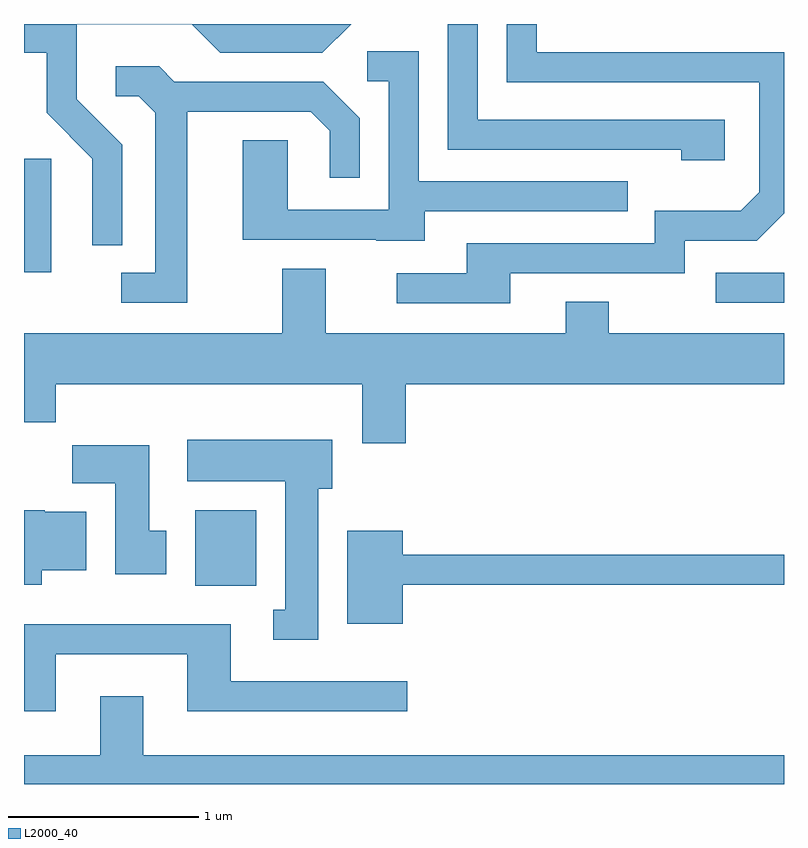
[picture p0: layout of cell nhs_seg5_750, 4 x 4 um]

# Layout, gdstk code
import gdstk
lib = gdstk.Library(unit=1e-6, precision=1e-09)
def R(c, l, rs):  # rectangles x0, y0, x1, y1
    for r in rs: c.add(gdstk.rectangle(r[:2], r[2:], *l))
def P(c, l, *ps):  # polygons
    for p in ps: c.add(gdstk.Polygon(p, *l))
L2000_40 = (2000, 40)

nhs_seg5_750 = lib.new_cell('nhs_seg5_750')
R(nhs_seg5_750, L2000_40, [(208.511,1409.116,208.834,1409.514), (211.253,1410.606,211.611,1410.764), (207.611,1410.766,207.754,1411.364)])
P(nhs_seg5_750, L2000_40, [(210.169,1410.761),(211.089,1410.761),(211.089,1410.931),(211.467,1410.931),(211.611,1411.076),(211.611,1411.924),(210.309,1411.924),(210.309,1412.072),(210.151,1412.072),(210.151,1411.766),(211.481,1411.766),(211.481,1411.187),(211.384,1411.089),(210.931,1411.089),(210.931,1410.919),(209.941,1410.919),(209.941,1410.759),(209.573,1410.759),(209.573,1410.601),(210.169,1410.601)],
  [(211.299,1411.569),(209.999,1411.569),(209.999,1412.072),(209.841,1412.072),(209.841,1411.411),(211.071,1411.411),(211.071,1411.356),(211.299,1411.356)],
  [(208.129,1411.437),(207.889,1411.677),(207.889,1412.071),(208.494,1412.071),(208.644,1411.921),(209.182,1411.921),(209.333,1412.072),(207.611,1412.072),(207.611,1411.921),(207.731,1411.921),(207.731,1411.604),(207.971,1411.364),(207.971,1410.908),(208.129,1410.908)],
  [(209.719,1411.086),(210.788,1411.086),(210.788,1411.244),(209.689,1411.244),(209.689,1411.929),(209.418,1411.929),(209.418,1411.771),(209.531,1411.771),(209.531,1411.094),(208.999,1411.094),(208.999,1411.459),(208.761,1411.459),(208.761,1410.936),(209.465,1410.936),(209.465,1410.931),(209.719,1410.931)],
  [(208.469,1411.611),(209.119,1411.611),(209.221,1411.509),(209.221,1411.263),(209.379,1411.263),(209.379,1411.577),(209.187,1411.769),(208.402,1411.769),(208.322,1411.849),(208.093,1411.849),(208.093,1411.691),(208.214,1411.691),(208.301,1411.604),(208.301,1410.764),(208.123,1410.764),(208.123,1410.606),(208.469,1410.606)],
  [(209.619,1410.176),(211.611,1410.176),(211.611,1410.444),(210.689,1410.444),(210.689,1410.609),(210.461,1410.609),(210.461,1410.444),(209.199,1410.444),(209.199,1410.784),(208.971,1410.784),(208.971,1410.444),(207.611,1410.444),(207.611,1409.976),(207.779,1409.976),(207.779,1410.176),(209.391,1410.176),(209.391,1409.866),(209.619,1409.866)],
  [(209.159,1409.626),(209.234,1409.626),(209.234,1409.884),(208.471,1409.884),(208.471,1409.666),(208.986,1409.666),(208.986,1408.989),(208.923,1408.989),(208.923,1408.831),(209.159,1408.831)],
  [(208.359,1409.404),(208.269,1409.404),(208.269,1409.854),(207.866,1409.854),(207.866,1409.656),(208.091,1409.656),(208.091,1409.176),(208.359,1409.176)],
  [(207.704,1409.196),(207.939,1409.196),(207.939,1409.504),(207.72,1409.504),(207.72,1409.514),(207.611,1409.514),(207.611,1409.121),(207.704,1409.121)],
  [(209.604,1409.121),(211.611,1409.121),(211.611,1409.279),(209.604,1409.279),(209.604,1409.404),(209.311,1409.404),(209.311,1408.916),(209.604,1408.916)],
  [(207.779,1408.756),(208.471,1408.756),(208.471,1408.456),(209.628,1408.456),(209.628,1408.614),(208.699,1408.614),(208.699,1408.914),(207.611,1408.914),(207.611,1408.456),(207.779,1408.456)],
  [(211.611,1408.224),(208.239,1408.224),(208.239,1408.534),(208.011,1408.534),(208.011,1408.224),(207.611,1408.224),(207.611,1408.072),(211.611,1408.072)])

lib.write_gds('nhs_seg5_750.gds')
